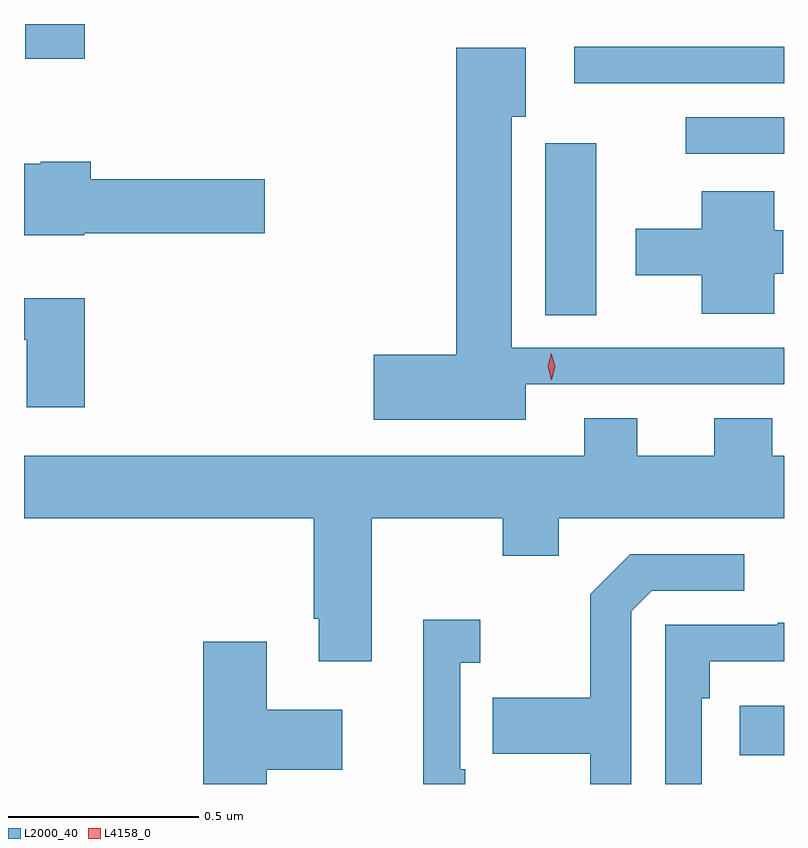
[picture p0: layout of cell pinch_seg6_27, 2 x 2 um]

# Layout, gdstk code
import gdstk
lib = gdstk.Library(unit=1e-6, precision=1e-09)
def R(c, l, rs):  # rectangles x0, y0, x1, y1
    for r in rs: c.add(gdstk.rectangle(r[:2], r[2:], *l))
def P(c, l, *ps):  # polygons
    for p in ps: c.add(gdstk.Polygon(p, *l))
L2000_40 = (2000, 40)
L4158_0 = (4158, 0)

pinch_seg6_27 = lib.new_cell('pinch_seg6_27')
R(pinch_seg6_27, L2000_40, [(984.165,966.692,984.282,966.822), (983.654,967.849,983.788,968.302), (984.024,968.274,984.282,968.37), (983.73,968.46,984.282,968.556), (982.285,968.524,982.442,968.616)])
P(pinch_seg6_27, L2000_40, [(983.602,967.668),(984.282,967.668),(984.282,967.764),(983.566,967.764),(983.566,968.372),(983.602,968.372),(983.602,968.554),(983.42,968.554),(983.42,967.745),(983.202,967.745),(983.202,967.574),(983.602,967.574)],
  [(982.44,968.066),(982.915,968.066),(982.915,968.208),(982.457,968.208),(982.457,968.254),(982.326,968.254),(982.326,968.248),(982.282,968.248),(982.282,968.06),(982.44,968.06)],
  [(984.256,967.959),(984.28,967.959),(984.28,968.073),(984.256,968.073),(984.256,968.176),(984.065,968.176),(984.065,968.077),(983.892,968.077),(983.892,967.955),(984.065,967.955),(984.065,967.853),(984.256,967.853)],
  [(982.442,967.894),(982.282,967.894),(982.282,967.785),(982.289,967.785),(982.289,967.608),(982.442,967.608)],
  [(983.197,967.316),(983.542,967.316),(983.542,967.217),(983.689,967.217),(983.689,967.316),(984.282,967.316),(984.282,967.48),(984.251,967.48),(984.251,967.579),(984.098,967.579),(984.098,967.48),(983.896,967.48),(983.896,967.579),(983.756,967.579),(983.756,967.48),(982.282,967.48),(982.282,967.316),(983.045,967.316),(983.045,967.051),(983.057,967.051),(983.057,966.939),(983.197,966.939)],
  [(983.88,967.071),(983.934,967.125),(984.178,967.125),(984.178,967.221),(983.877,967.221),(983.772,967.115),(983.772,966.843),(983.515,966.843),(983.515,966.695),(983.772,966.695),(983.772,966.616),(983.88,966.616)],
  [(983.443,966.655),(983.43,966.655),(983.43,966.935),(983.482,966.935),(983.482,967.048),(983.333,967.048),(983.333,966.616),(983.443,966.616)],
  [(984.066,966.842),(984.086,966.842),(984.086,966.939),(984.282,966.939),(984.282,967.04),(984.265,967.04),(984.265,967.035),(983.97,967.035),(983.97,966.616),(984.066,966.616)],
  [(982.921,966.653),(983.119,966.653),(983.119,966.811),(982.921,966.811),(982.921,966.991),(982.754,966.991),(982.754,966.616),(982.921,966.616)])
P(pinch_seg6_27, L4158_0, [(983.67,967.68),(983.67,967.68),(983.66,967.715),(983.67,967.75),(983.67,967.75),(983.67,967.75),(983.68,967.715),(983.671,967.68)])

lib.write_gds('pinch_seg6_27.gds')
